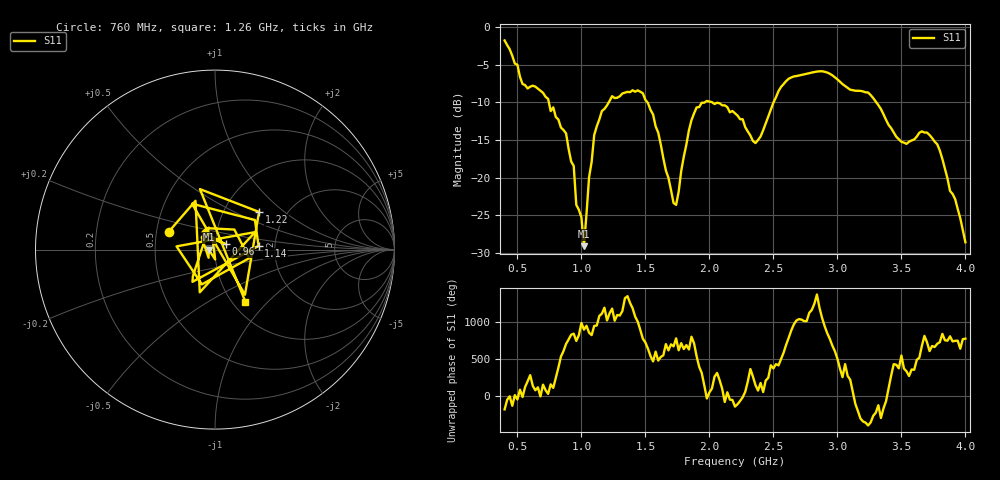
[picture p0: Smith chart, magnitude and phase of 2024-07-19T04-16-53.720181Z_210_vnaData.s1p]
!Created with skrf (http://scikit-rf.org).
# Hz S RI R 50.0
!freq ReS11 ImS11
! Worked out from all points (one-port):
!   181 points, 400 MHz to 4 GHz, reference 50 ohm
!   lowest |S11| = -29.1 dB at 1.02 GHz (marker M1), VSWR 1.07, Z = 46.6 + j0.0292 ohm
!   |S11| at or under -10 dB: 745.6 MHz to 1.214 GHz (468.2 MHz wide, 47.8 % of centre); 2.022 GHz to 2.501 GHz (479.6 MHz wide, 21.2 % of centre); 3.304 GHz to end of sweep (the widest 3 of 4)
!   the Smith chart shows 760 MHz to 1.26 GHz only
!   S11 on the Smith chart (normalised r, x): 760 MHz: 0.58, +0.12; 960 MHz: 1.12, +0.07; 1.14 GHz: 1.64, +0.07; 1.22 GHz: 1.46, +0.68; 1.26 GHz: 1.14, -0.75
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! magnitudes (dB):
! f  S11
! 400 MHz  -1.8
! 540 MHz  -7.6
! 760 MHz  -11.2
! 860 MHz  -13.7
! 940 MHz  -18.4
! 960 MHz  -23.6
! 1 GHz  -25.3
! 1.02 GHz  -29.1
! 1.06 GHz  -19.9
! 1.1 GHz  -14.3
! 1.14 GHz  -12.3
! 1.22 GHz  -9.8
! 1.26 GHz  -9.4
! 1.3 GHz  -9.2
! 1.48 GHz  -8.8
! 1.6 GHz  -14.0
! 1.72 GHz  -23.4
! 1.76 GHz  -21.8
! 1.84 GHz  -13.7
! 1.9 GHz  -10.7
! 2.2 GHz  -11.5
! 2.36 GHz  -15.4
! 2.66 GHz  -6.6
! 3.1 GHz  -8.3
! 3.24 GHz  -8.7
! 3.56 GHz  -15.2
! 3.78 GHz  -15.6
! 4 GHz  -28.6
